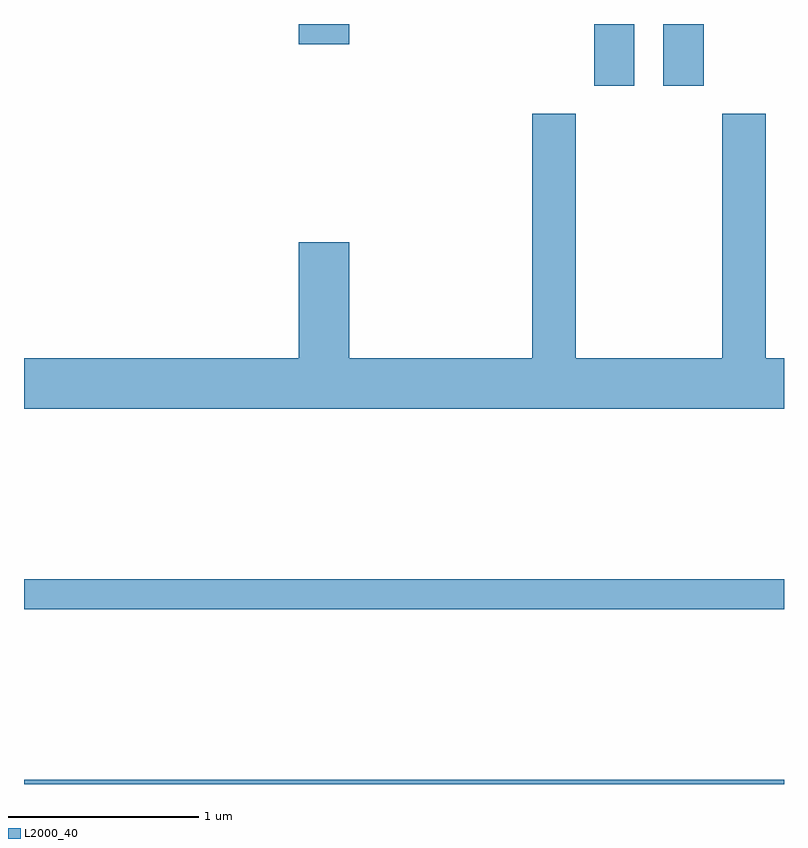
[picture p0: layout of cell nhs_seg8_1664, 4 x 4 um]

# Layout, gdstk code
import gdstk
lib = gdstk.Library(unit=1e-6, precision=1e-09)
def R(c, l, rs):  # rectangles x0, y0, x1, y1
    for r in rs: c.add(gdstk.rectangle(r[:2], r[2:], *l))
def P(c, l, *ps):  # polygons
    for p in ps: c.add(gdstk.Polygon(p, *l))
L2000_40 = (2000, 40)

nhs_seg8_1664 = lib.new_cell('nhs_seg8_1664')
R(nhs_seg8_1664, L2000_40, [(233.611,1934.342,237.611,1934.364), (233.611,1935.261,237.611,1935.419), (236.611,1938.016,236.824,1938.342), (236.976,1938.016,237.189,1938.342), (235.056,1938.236,235.324,1938.342)])
P(nhs_seg8_1664, L2000_40, [(237.611,1936.584),(237.514,1936.584),(237.514,1937.869),(237.286,1937.869),(237.286,1936.584),(236.514,1936.584),(236.514,1937.869),(236.286,1937.869),(236.286,1936.584),(235.324,1936.584),(235.324,1937.194),(235.056,1937.194),(235.056,1936.584),(233.611,1936.584),(233.611,1936.316),(237.611,1936.316)])

lib.write_gds('nhs_seg8_1664.gds')
